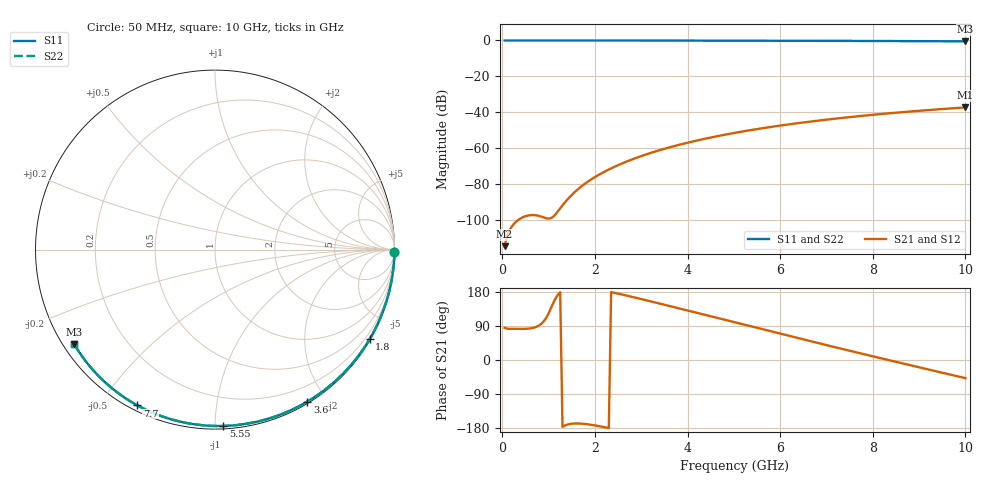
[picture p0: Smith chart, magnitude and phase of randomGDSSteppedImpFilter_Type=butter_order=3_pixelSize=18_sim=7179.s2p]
! freq	dB(S11)	phase(S11)	dB(S12)	phase(S12)
!  dB(S21)	phase(S21)	dB(S22)	phase(S22)
!S-par simulation data
#  GHz  S  DB  R 50
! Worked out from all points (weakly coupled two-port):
!   200 points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, 50 MHz to 10 GHz, reference 50 ohm
!   highest |S21| = -37.33 dB at 10 GHz (marker M1); lowest = -114.7 dB at 50 MHz (marker M2)
!   lowest |S11| = -0.5 dB at 10 GHz (marker M3), VSWR 35.23, Z = 1.55 - j15.2 ohm
!   |S11| at or under -10 dB: nowhere
!   |S22| runs from -0.5 to 0.0 dB; largest |S21 - S12| = 0
!   S11 on the Smith chart (normalised r, x): 50 MHz: open; 1.8 GHz: 0.03, -3.72; 3.6 GHz: 0.02, -1.78; 5.55 GHz: 0.02, -1.05; 7.7 GHz: 0.02, -0.62; 10 GHz: 0.03, -0.30
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0.05  -0.00 -0.9  -114.66 84.9  -114.66 84.9  -0.00 -0.9
0.45  -0.01 -7.6  -98.46 82.1  -98.46 82.1  -0.01 -7.6
0.9  -0.02 -15.2  -98.69 102.8  -98.69 102.8  -0.02 -15.2
1.3  -0.03 -21.9  -91.90 -176.3  -91.90 -176.3  -0.03 -21.9
1.75  -0.04 -29.3  -80.50 -168.4  -80.50 -168.4  -0.04 -29.3
1.8  -0.04 -30.1  -79.54 -169.0  -79.54 -169.0  -0.04 -30.1
1.95  -0.04 -32.5  -76.94 -171.6  -76.94 -171.6  -0.04 -32.5
2.1  -0.04 -35.0  -74.64 -174.7  -74.64 -174.7  -0.04 -35.0
2.3  -0.05 -38.2  -71.92 -179.6  -71.92 -179.6  -0.05 -38.2
2.5  -0.05 -41.4  -69.50 175.1  -69.50 175.1  -0.05 -41.4
2.9  -0.06 -47.8  -65.36 163.8  -65.36 163.8  -0.06 -47.8
3.4  -0.07 -55.6  -61.13 148.9  -61.13 148.9  -0.07 -55.6
3.6  -0.08 -58.7  -59.65 142.8  -59.65 142.8  -0.08 -58.7
4.3  -0.10 -69.2  -55.21 121.4  -55.21 121.4  -0.10 -69.2
5.05  -0.12 -80.2  -51.36 98.3  -51.36 98.3  -0.12 -80.2
5.55  -0.14 -87.3  -49.19 83.0  -49.19 83.0  -0.14 -87.3
6.1  -0.17 -95.0  -47.08 66.3  -47.08 66.3  -0.17 -95.0
6.7  -0.20 -103.2  -45.06 48.2  -45.06 48.2  -0.20 -103.2
7.7  -0.27 -116.5  -42.19 18.5  -42.19 18.5  -0.27 -116.5
8.35  -0.32 -124.9  -40.61 -0.5  -40.61 -0.5  -0.32 -124.9
9.2  -0.40 -135.8  -38.80 -25.0  -38.80 -25.0  -0.40 -135.8
10  -0.49 -146.1  -37.33 -47.9  -37.33 -47.9  -0.49 -146.1
